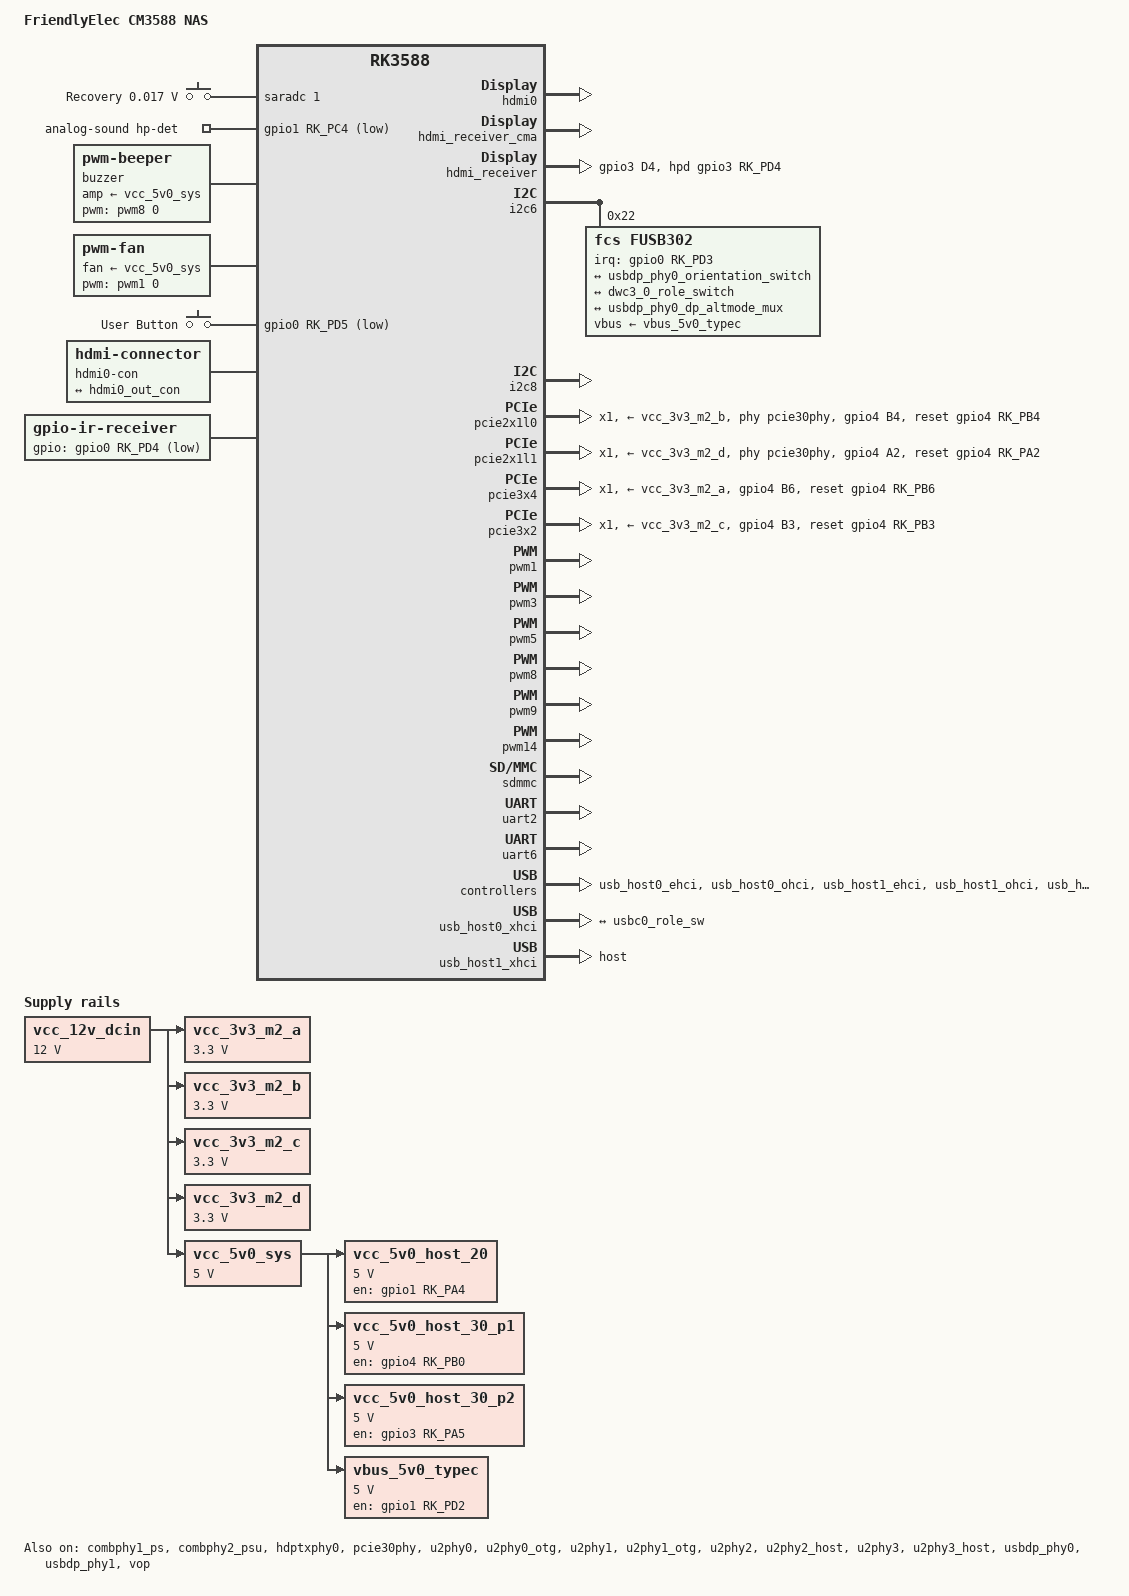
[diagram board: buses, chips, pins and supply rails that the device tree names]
// SPDX-License-Identifier: (GPL-2.0+ OR MIT)
/*
 * Copyright (c) 2021 Rockchip Electronics Co., Ltd.
 * Copyright (c) 2023 Thomas McKahan
 * Copyright (c) 2024 Sebastian Kropatsch
 *
 */

/dts-v1/;

#include <dt-bindings/gpio/gpio.h>
#include <dt-bindings/input/input.h>
#include <dt-bindings/pinctrl/rockchip.h>
#include <dt-bindings/soc/rockchip,vop2.h>
#include <dt-bindings/usb/pd.h>
#include "rk3588-friendlyelec-cm3588.dtsi"

/ {
	model = "FriendlyElec CM3588 NAS";
	compatible = "friendlyarm,cm3588-nas", "friendlyarm,cm3588", "rockchip,rk3588";

	adc_key_recovery: adc-key-recovery {
		compatible = "adc-keys";
		io-channels = <&saradc 1>;
		io-channel-names = "buttons";
		keyup-threshold-microvolt = <1800000>;
		poll-interval = <100>;

		button-recovery {
			label = "Recovery";
			linux,code = <KEY_VENDOR>;
			press-threshold-microvolt = <17000>;
		};
	};

	analog-sound {
		compatible = "simple-audio-card";
		pinctrl-names = "default";
		pinctrl-0 = <&headphone_detect>;

		simple-audio-card,format = "i2s";
		simple-audio-card,hp-det-gpios = <&gpio1 RK_PC4 GPIO_ACTIVE_LOW>;
		simple-audio-card,mclk-fs = <256>;
		simple-audio-card,name = "realtek,rt5616-codec";

		simple-audio-card,routing =
			"Headphones", "HPOL",
			"Headphones", "HPOR",
			"MIC1", "Microphone Jack",
			"Microphone Jack", "micbias1";
		simple-audio-card,widgets =
			"Headphone", "Headphones",
			"Microphone", "Microphone Jack";

		simple-audio-card,cpu {
			sound-dai = <&i2s0_8ch>;
		};

		simple-audio-card,codec {
			sound-dai = <&rt5616>;
		};
	};

	buzzer: pwm-beeper {
		compatible = "pwm-beeper";
		amp-supply = <&vcc_5v0_sys>;
		beeper-hz = <500>;
		pwms = <&pwm8 0 500000 0>;
	};

	fan: pwm-fan {
		compatible = "pwm-fan";
		#cooling-cells = <2>;
		cooling-levels = <0 50 80 120 160 220>;
		fan-supply = <&vcc_5v0_sys>;
		pwms = <&pwm1 0 50000 0>;
	};

	gpio_keys: gpio-keys {
		compatible = "gpio-keys";
		pinctrl-names = "default";
		pinctrl-0 = <&key1_pin>;

		button-user {
			debounce-interval = <50>;
			gpios = <&gpio0 RK_PD5 GPIO_ACTIVE_LOW>;
			label = "User Button";
			linux,code = <BTN_1>;
			wakeup-source;
		};
	};

	hdmi0-con {
		compatible = "hdmi-connector";
		type = "a";

		port {
			hdmi0_con_in: endpoint {
				remote-endpoint = <&hdmi0_out_con>;
			};
		};
	};

	ir-receiver {
		compatible = "gpio-ir-receiver";
		gpios = <&gpio0 RK_PD4 GPIO_ACTIVE_LOW>;
	};

	vcc_12v_dcin: regulator-vcc-12v-dcin {
		compatible = "regulator-fixed";
		regulator-name = "vcc_12v_dcin";
		regulator-always-on;
		regulator-boot-on;
		regulator-min-microvolt = <12000000>;
		regulator-max-microvolt = <12000000>;
	};

	vcc_3v3_m2_a: regulator-vcc-3v3-m2-a {
		compatible = "regulator-fixed";
		regulator-name = "vcc_3v3_m2_a";
		regulator-always-on;
		regulator-boot-on;
		regulator-min-microvolt = <3300000>;
		regulator-max-microvolt = <3300000>;
		vin-supply = <&vcc_12v_dcin>;
	};

	vcc_3v3_m2_b: regulator-vcc-3v3-m2-b {
		compatible = "regulator-fixed";
		regulator-name = "vcc_3v3_m2_b";
		regulator-always-on;
		regulator-boot-on;
		regulator-min-microvolt = <3300000>;
		regulator-max-microvolt = <3300000>;
		vin-supply = <&vcc_12v_dcin>;
	};

	vcc_3v3_m2_c: regulator-vcc-3v3-m2-c {
		compatible = "regulator-fixed";
		regulator-name = "vcc_3v3_m2_c";
		regulator-always-on;
		regulator-boot-on;
		regulator-min-microvolt = <3300000>;
		regulator-max-microvolt = <3300000>;
		vin-supply = <&vcc_12v_dcin>;
	};

	vcc_3v3_m2_d: regulator-vcc-3v3-m2-d {
		compatible = "regulator-fixed";
		regulator-name = "vcc_3v3_m2_d";
		regulator-always-on;
		regulator-boot-on;
		regulator-min-microvolt = <3300000>;
		regulator-max-microvolt = <3300000>;
		vin-supply = <&vcc_12v_dcin>;
	};

	/* vcc_5v0_sys powers the peripherals */
	vcc_5v0_sys: regulator-vcc-5v0-sys {
		compatible = "regulator-fixed";
		regulator-name = "vcc_5v0_sys";
		regulator-always-on;
		regulator-boot-on;
		regulator-min-microvolt = <5000000>;
		regulator-max-microvolt = <5000000>;
		vin-supply = <&vcc_12v_dcin>;
	};

	/* SY6280AAC power switch (U14 in schematics) */
	vcc_5v0_host_20: regulator-vcc-5v0-host-20 {
		compatible = "regulator-fixed";
		enable-active-high;
		gpios = <&gpio1 RK_PA4 GPIO_ACTIVE_HIGH>;
		pinctrl-names = "default";
		pinctrl-0 = <&vcc_5v0_host20_en>;
		regulator-name = "vcc_5v0_host_20";
		regulator-min-microvolt = <5000000>;
		regulator-max-microvolt = <5000000>;
		vin-supply = <&vcc_5v0_sys>;
	};

	/* SY6280AAC power switch (U8 in schematics) */
	vcc_5v0_host_30_p1: regulator-vcc-5v0-host-30-p1 {
		compatible = "regulator-fixed";
		enable-active-high;
		gpios = <&gpio4 RK_PB0 GPIO_ACTIVE_HIGH>;
		pinctrl-names = "default";
		pinctrl-0 = <&vcc_5v0_host30p1_en>;
		regulator-name = "vcc_5v0_host_30_p1";
		regulator-min-microvolt = <5000000>;
		regulator-max-microvolt = <5000000>;
		vin-supply = <&vcc_5v0_sys>;
	};

	/* SY6280AAC power switch (U9 in schematics) */
	vcc_5v0_host_30_p2: regulator-vcc-5v0-host-30-p2 {
		compatible = "regulator-fixed";
		enable-active-high;
		gpios = <&gpio3 RK_PA5 GPIO_ACTIVE_HIGH>;
		pinctrl-names = "default";
		pinctrl-0 = <&vcc_5v0_host30p2_en>;
		regulator-name = "vcc_5v0_host_30_p2";
		regulator-min-microvolt = <5000000>;
		regulator-max-microvolt = <5000000>;
		vin-supply = <&vcc_5v0_sys>;
	};

	/* SY6280AAC power switch (U10 in schematics) */
	vbus_5v0_typec: regulator-vbus-5v0-typec {
		compatible = "regulator-fixed";
		enable-active-high;
		gpios = <&gpio1 RK_PD2 GPIO_ACTIVE_HIGH>;
		pinctrl-names = "default";
		pinctrl-0 = <&typec_5v_pwr_en>;
		regulator-name = "vbus_5v0_typec";
		regulator-min-microvolt = <5000000>;
		regulator-max-microvolt = <5000000>;
		vin-supply = <&vcc_5v0_sys>;
	};
};

/* vcc_4v0_sys powers the RK806 and RK860's */
&vcc_4v0_sys {
	vin-supply = <&vcc_12v_dcin>;
};

/* Combo PHY 1 is configured to act as as PCIe 2.0 PHY */
/* Used by PCIe controller 2 (pcie2x1l0) */
&combphy1_ps {
	status = "okay";
};

/* Combo PHY 2 is configured to act as USB3 PHY */
/* Used by USB 3.0 OTG 2 controller (USB 3.0 Type-A port 2) */
/* CM3588 USB Controller Config Table: USB30 HOST2 */
&combphy2_psu {
	status = "okay";
};

/* GPIO names are in the format "Human-readable-name [SIGNAL_LABEL]" */
/* Signal labels match the official CM3588 NAS SDK schematic revision 2309 */
&gpio0 {
	gpio-line-names =
		/* GPIO0 A0-A7 */
		"", "", "", "",
		"MicroSD detect [SDMMC_DET_L]", "", "", "",
		/* GPIO0 B0-B7 */
		"", "", "", "",
		"", "", "", "",
		/* GPIO0 C0-C7 */
		"", "", "", "",
		"Pin 10 [UART0_RX_M0]", "Pin 08 [UART0_TX_M0/PWM4_M0]", "Pin 32 [PWM5_M1]", "",
		/* GPIO0 D0-D7 */
		"", "", "", "USB3 Type-C [CC_INT_L]",
		"IR receiver [PWM3_IR_M0]", "User Button", "", "";
};

&gpio1 {
	gpio-line-names =
		/* GPIO1 A0-A7 */
		"Pin 27 [UART6_RX_M1]", "Pin 28 [UART6_TX_M1]", "", "",
		"USB2 Type-A [USB2_PWREN]", "", "", "Pin 15",
		/* GPIO1 B0-B7 */
		"Pin 26", "Pin 21 [SPI0_MISO_M2]", "Pin 19 [SPI0_MOSI_M2/UART4_RX_M2]", "Pin 23 [SPI0_CLK_M2/UART4_TX_M2]",
		"Pin 24 [SPI0_CS0_M2/UART7_RX_M2]", "Pin 22 [SPI0_CS1_M0/UART7_TX_M2]", "", "CSI-Pin 14 [MIPI_CAM2_CLKOUT]",
		/* GPIO1 C0-C7 */
		"", "", "", "",
		"Headphone detect [HP_DET_L]", "", "", "",
		/* GPIO1 D0-D7 */
		"", "", "USB3 Type-C [TYPEC5V_PWREN_H]", "5V Fan [PWM1_M1]",
		"", "HDMI-in detect [HDMIIRX_DET_L]", "Pin 05 [I2C8_SCL_M2]", "Pin 03 [I2C8_SDA_M2]";
};

&gpio2 {
	gpio-line-names =
		/* GPIO2 A0-A7 */
		"", "", "", "",
		"", "", "SPI NOR Flash [FSPI_D0_M1]", "SPI NOR Flash [FSPI_D1_M1]",
		/* GPIO2 B0-B7 */
		"SPI NOR Flash [FSPI_D2_M1]", "SPI NOR Flash [FSPI_D3_M1]", "", "SPI NOR Flash [FSPI_CLK_M1]",
		"SPI NOR Flash [FSPI_CSN0_M1]", "", "", "",
		/* GPIO2 C0-C7 */
		"", "CSI-Pin 11 [MIPI_CAM2_RESET_L]", "CSI-Pin 12 [MIPI_CAM2_PDN_L]", "",
		"", "", "", "",
		/* GPIO2 D0-D7 */
		"", "", "", "",
		"", "", "", "";
};

&gpio3 {
	gpio-line-names =
		/* GPIO3 A0-A7 */
		"Pin 35 [SPI4_MISO_M1/PWM10_M0]", "Pin 38 [SPI4_MOSI_M1]", "Pin 40 [SPI4_CLK_M1/UART8_TX_M1]", "Pin 36 [SPI4_CS0_M1/UART8_RX_M1]",
		"Pin 37 [SPI4_CS1_M1]", "USB3-A #2 [USB3_2_PWREN]", "DSI-Pin 12 [LCD_RST]", "Buzzer [PWM8_M0]",
		/* GPIO3 B0-B7 */
		"Pin 33 [PWM9_M0]", "DSI-Pin 10 [PWM2_M1/LCD_BL]", "Pin 07", "Pin 16",
		"Pin 18", "Pin 29 [UART3_TX_M1/PWM12_M0]", "Pin 31 [UART3_RX_M1/PWM13_M0]", "Pin 12",
		/* GPIO3 C0-C7 */
		"DSI-Pin 08 [TP_INT_L]", "DSI-Pin 14 [TP_RST_L]", "Pin 11 [PWM14_M0]", "Pin 13 [PWM15_IR_M0]",
		"", "", "", "DSI-Pin 06 [I2C5_SCL_M0_TP]",
		/* GPIO3 D0-D7 */
		"DSI-Pin 05 [I2C5_SDA_M0_TP]", "", "", "",
		"", "", "", "";
};

&gpio4 {
	gpio-line-names =
		/* GPIO4 A0-A7 */
		"", "", "M.2 M-Key Slot4 [M2_D_PERST_L]", "",
		"", "", "", "",
		/* GPIO4 B0-B7 */
		"USB3-A #1 [USB3_TYPEC1_PWREN]", "", "", "M.2 M-Key Slot3 [M2_C_PERST_L]",
		"M.2 M-Key Slot2 [M2_B_PERST_L]", "M.2 M-Key Slot1 [M2_A_CLKREQ_L]", "M.2 M-Key Slot1 [M2_A_PERST_L]", "",
		/* GPIO4 C0-C7 */
		"", "", "", "",
		"", "", "", "",
		/* GPIO4 D0-D7 */
		"", "", "", "",
		"", "", "", "";
};

&hdmi0 {
	status = "okay";
};

&hdmi0_in {
	hdmi0_in_vp0: endpoint {
		remote-endpoint = <&vp0_out_hdmi0>;
	};
};

&hdmi0_out {
	hdmi0_out_con: endpoint {
		remote-endpoint = <&hdmi0_con_in>;
	};
};

&hdmi_receiver_cma {
	status = "okay";
};

&hdmi_receiver {
	hpd-gpios = <&gpio3 RK_PD4 GPIO_ACTIVE_HIGH>;
	pinctrl-0 = <&hdmim1_rx_cec &hdmim1_rx_hpdin &hdmim1_rx_scl &hdmim1_rx_sda &hdmirx_hpd>;
	pinctrl-names = "default";
	status = "okay";
};

&hdptxphy0 {
	status = "okay";
};

/* Connected to MIPI-DSI0 */
&i2c5 {
	pinctrl-names = "default";
	pinctrl-0 = <&i2c5m0_xfer>;
	status = "disabled";
};

&i2c6 {
	fusb302: typec-portc@22 {
		compatible = "fcs,fusb302";
		reg = <0x22>;
		interrupt-parent = <&gpio0>;
		interrupts = <RK_PD3 IRQ_TYPE_LEVEL_LOW>;
		pinctrl-names = "default";
		pinctrl-0 = <&usbc0_int>;
		vbus-supply = <&vbus_5v0_typec>;

		usb_con: connector {
			compatible = "usb-c-connector";
			data-role = "dual";
			label = "USB-C";
			power-role = "source";
			source-pdos = <PDO_FIXED(5000, 2000, PDO_FIXED_USB_COMM)>;
			try-power-role = "source";
			vbus-supply = <&vbus_5v0_typec>;

			ports {
				#address-cells = <1>;
				#size-cells = <0>;

				port@0 {
					reg = <0>;

					usbc0_orien_sw: endpoint {
						remote-endpoint = <&usbdp_phy0_orientation_switch>;
					};
				};

				port@1 {
					reg = <1>;

					usbc0_role_sw: endpoint {
						remote-endpoint = <&dwc3_0_role_switch>;
					};
				};

				port@2 {
					reg = <2>;

					dp_altmode_mux: endpoint {
						remote-endpoint = <&usbdp_phy0_dp_altmode_mux>;
					};
				};
			};
		};
	};
};

/* Connected to MIPI-CSI1 */
/* &i2c7 */

/* GPIO Connector, connected to 40-pin GPIO header */
&i2c8 {
	pinctrl-names = "default";
	pinctrl-0 = <&i2c8m2_xfer>;
	status = "okay";
};

&pcie2x1l0 {
	/* 2. M.2 socket, CON14: pcie30phy port0 lane1, @fe170000 */
	max-link-speed = <3>;
	num-lanes = <1>;
	phys = <&pcie30phy>;
	pinctrl-names = "default";
	pinctrl-0 = <&pcie2_0_rst>;
	reset-gpios = <&gpio4 RK_PB4 GPIO_ACTIVE_HIGH>;
	vpcie3v3-supply = <&vcc_3v3_m2_b>;
	status = "okay";
};

&pcie2x1l1 {
	/* 4. M.2 socket, CON16: pcie30phy port1 lane1, @fe180000 */
	max-link-speed = <3>;
	num-lanes = <1>;
	phys = <&pcie30phy>;
	pinctrl-names = "default";
	pinctrl-0 = <&pcie2_1_rst>;
	reset-gpios = <&gpio4 RK_PA2 GPIO_ACTIVE_HIGH>;
	vpcie3v3-supply = <&vcc_3v3_m2_d>;
	status = "okay";
};

&pcie30phy {
	/*
	* Data lane mapping <1 3 2 4> = x1x1 x1x1 (bifurcation of both ports)
	* port 0 lane 0 - always mapped to controller 0 (4L)
	* port 0 lane 1 - map to controller 2 (1L0)
	* port 1 lane 0 - map to controller 1 (2L)
	* port 1 lane 1 - map to controller 3 (1L1)
	*/
	data-lanes = <1 3 2 4>;
	status = "okay";
};

&pcie3x4 {
	/* 1. M.2 socket, CON13: pcie30phy port0 lane0, @fe150000 */
	max-link-speed = <3>;
	num-lanes = <1>;
	pinctrl-names = "default";
	pinctrl-0 = <&pcie3x4_rst>;
	reset-gpios = <&gpio4 RK_PB6 GPIO_ACTIVE_HIGH>;
	vpcie3v3-supply = <&vcc_3v3_m2_a>;
	status = "okay";
};

&pcie3x2 {
	/* 3. M.2 socket, CON15: pcie30phy port1 lane0, @fe160000 */
	max-link-speed = <3>;
	num-lanes = <1>;
	pinctrl-names = "default";
	pinctrl-0 = <&pcie3x2_rst>;
	reset-gpios = <&gpio4 RK_PB3 GPIO_ACTIVE_HIGH>;
	vpcie3v3-supply = <&vcc_3v3_m2_c>;
	status = "okay";
};

&pinctrl {
	audio {
		headphone_detect: headphone-detect {
			rockchip,pins = <1 RK_PC4 RK_FUNC_GPIO &pcfg_pull_none>;
		};
	};

	gpio-key {
		key1_pin: key1-pin {
			rockchip,pins = <0 RK_PD5 RK_FUNC_GPIO &pcfg_pull_up>;
		};
	};

	hdmirx {
		hdmirx_hpd: hdmirx-5v-detection {
			rockchip,pins = <3 RK_PD4 RK_FUNC_GPIO &pcfg_pull_up>;
		};
	};

	pcie {
		pcie2_0_rst: pcie2-0-rst {
			rockchip,pins = <4 RK_PB4 RK_FUNC_GPIO &pcfg_pull_none>;
		};

		pcie2_1_rst: pcie2-1-rst {
			rockchip,pins = <4 RK_PA2 RK_FUNC_GPIO &pcfg_pull_none>;
		};

		pcie3x2_rst: pcie3x2-rst {
			rockchip,pins = <4 RK_PB3 RK_FUNC_GPIO &pcfg_pull_none>;
		};

		pcie3x4_rst: pcie3x4-rst {
			rockchip,pins = <4 RK_PB6 RK_FUNC_GPIO &pcfg_pull_none>;
		};
	};

	usb {
		vcc_5v0_host20_en: vcc-5v0-host20-en {
			rockchip,pins = <1 RK_PA4 RK_FUNC_GPIO &pcfg_pull_none>;
		};

		vcc_5v0_host30p1_en: vcc-5v0-host30p1-en {
			rockchip,pins = <4 RK_PB0 RK_FUNC_GPIO &pcfg_pull_none>;
		};

		vcc_5v0_host30p2_en: vcc-5v0-host30p2-en {
			rockchip,pins = <3 RK_PA5 RK_FUNC_GPIO &pcfg_pull_none>;
		};
	};

	usb-typec {
		usbc0_int: usbc0-int {
			rockchip,pins = <0 RK_PD3 RK_FUNC_GPIO &pcfg_pull_up>;
		};

		typec_5v_pwr_en: typec-5v-pwr-en {
			rockchip,pins = <1 RK_PD2 RK_FUNC_GPIO &pcfg_pull_none>;
		};
	};
};

/* Connected to 5V Fan */
&pwm1 {
	pinctrl-names = "default";
	pinctrl-0 = <&pwm1m1_pins>;
	status = "okay";
};

/* Connected to MIPI-DSI0 */
&pwm2 {
	pinctrl-names = "default";
	pinctrl-0 = <&pwm2m1_pins>;
};

/* Connected to IR Receiver */
&pwm3 {
	pinctrl-names = "default";
	pinctrl-0 = <&pwm3m0_pins>;
	status = "okay";
};

/* GPIO Connector, connected to 40-pin GPIO header */
/* Shared with UART0 */
&pwm4 {
	pinctrl-names = "default";
	pinctrl-0 = <&pwm4m1_pins>;
	status = "disabled";
};

/* GPIO Connector, connected to 40-pin GPIO header */
&pwm5 {
	pinctrl-names = "default";
	pinctrl-0 = <&pwm5m1_pins>;
	status = "okay";
};

/* Connected to Buzzer */
&pwm8 {
	pinctrl-names = "default";
	pinctrl-0 = <&pwm8m0_pins>;
	status = "okay";
};

/* GPIO Connector, connected to 40-pin GPIO header */
&pwm9 {
	pinctrl-names = "default";
	pinctrl-0 = <&pwm9m0_pins>;
	status = "okay";
};

/* GPIO Connector, connected to 40-pin GPIO header */
/* Shared with SPI4 */
&pwm10 {
	pinctrl-names = "default";
	pinctrl-0 = <&pwm10m0_pins>;
	status = "disabled";
};

/* GPIO Connector, connected to 40-pin GPIO header */
/* Shared with UART3 */
&pwm12 {
	pinctrl-names = "default";
	pinctrl-0 = <&pwm12m0_pins>;
	status = "disabled";
};

/* GPIO Connector, connected to 40-pin GPIO header */
/* Shared with UART3 */
&pwm13 {
	pinctrl-names = "default";
	pinctrl-0 = <&pwm13m0_pins>;
	status = "disabled";
};

/* GPIO Connector, connected to 40-pin GPIO header */
&pwm14 {
	pinctrl-names = "default";
	pinctrl-0 = <&pwm14m0_pins>;
	status = "okay";
};

/* GPIO Connector, connected to 40-pin GPIO header */
/* Optimized for infrared applications */
&pwm15 {
	pinctrl-names = "default";
	pinctrl-0 = <&pwm15m0_pins>;
	status = "disabled";
};

/* microSD card */
&sdmmc {
	status = "okay";
};

/* GPIO Connector, connected to 40-pin GPIO header */
/* Shared with UART4, UART7 and PWM10 */
&spi0 {
	num-cs = <1>;
	pinctrl-names = "default";
	pinctrl-0 = <&spi0m2_cs0 &spi0m2_pins>;
	status = "disabled";
};

/* GPIO Connector, connected to 40-pin GPIO header */
/* Shared with UART8 */
&spi4 {
	num-cs = <1>;
	pinctrl-names = "default";
	pinctrl-0 = <&spi4m1_cs0 &spi4m1_pins>;
	status = "disabled";
};

/* GPIO Connector, connected to 40-pin GPIO header */
/* Shared with PWM4 */
&uart0 {
	pinctrl-names = "default";
	pinctrl-0 = <&uart0m0_xfer>;
	status = "disabled";
};

/* Debug UART */
&uart2 {
	status = "okay";
};

/* GPIO Connector, connected to 40-pin GPIO header */
/* Shared with PWM12 and PWM13 */
&uart3 {
	pinctrl-names = "default";
	pinctrl-0 = <&uart3m1_xfer>;
	status = "disabled";
};

/* GPIO Connector, connected to 40-pin GPIO header */
/* Shared with SPI0 */
&uart4 {
	pinctrl-names = "default";
	pinctrl-0 = <&uart4m2_xfer>;
	status = "disabled";
};

/* GPIO Connector, connected to 40-pin GPIO header */
&uart6 {
	pinctrl-names = "default";
	pinctrl-0 = <&uart6m1_xfer>;
	status = "okay";
};

/* GPIO Connector, connected to 40-pin GPIO header */
/* Shared with SPI0 */
&uart7 {
	pinctrl-names = "default";
	pinctrl-0 = <&uart7m2_xfer>;
	status = "disabled";
};

/* GPIO Connector, connected to 40-pin GPIO header */
/* Shared with SPI4 */
&uart8 {
	pinctrl-names = "default";
	pinctrl-0 = <&uart8m1_xfer>;
	status = "disabled";
};

/* USB2 PHY for USB Type-C port */
/* CM3588 USB Controller Config Table: USB20 OTG0 */
&u2phy0 {
	status = "okay";
};

&u2phy0_otg {
	phy-supply = <&vbus_5v0_typec>;
	status = "okay";
};

/* USB2 PHY for USB 3.0 Type-A port 1 */
/* CM3588 USB Controller Config Table: USB20 OTG1 */
&u2phy1 {
	status = "okay";
};

&u2phy1_otg {
	phy-supply = <&vcc_5v0_host_30_p1>;
	status = "okay";
};

/* USB2 PHY for USB 2.0 Type-A */
/* CM3588 USB Controller Config Table: USB20 HOST0 */
&u2phy2 {
	status = "okay";
};

&u2phy2_host {
	phy-supply = <&vcc_5v0_host_20>;
	status = "okay";
};

/* USB2 PHY for USB 3.0 Type-A port 2 */
/* CM3588 USB Controller Config Table: USB20 HOST1 */
&u2phy3 {
	status = "okay";
};

&u2phy3_host {
	phy-supply = <&vcc_5v0_host_30_p2>;
	status = "okay";
};

/* USB 2.0 Type-A */
/* PHY: <&u2phy2_host> */
&usb_host0_ehci {
	status = "okay";
};

/* USB 2.0 Type-A */
/* PHY: <&u2phy2_host> */
&usb_host0_ohci {
	status = "okay";
};

/* USB Type-C */
/* PHYs: <&u2phy0_otg>, <&usbdp_phy0 PHY_TYPE_USB3> */
&usb_host0_xhci {
	usb-role-switch;
	status = "okay";

	port {
		dwc3_0_role_switch: endpoint {
			remote-endpoint = <&usbc0_role_sw>;
		};
	};
};

/* Lower USB 3.0 Type-A (port 2) */
/* PHY: <&u2phy3_host> */
&usb_host1_ehci {
	status = "okay";
};

/* Lower USB 3.0 Type-A (port 2) */
/* PHY: <&u2phy3_host> */
&usb_host1_ohci {
	status = "okay";
};

/* Upper USB 3.0 Type-A (port 1) */
/* PHYs: <&u2phy1_otg>, <&usbdp_phy1 PHY_TYPE_USB3> */
&usb_host1_xhci {
	dr_mode = "host";
	status = "okay";
};

/* Lower USB 3.0 Type-A (port 2) */
/* PHYs: <&combphy2_psu PHY_TYPE_USB3> */
&usb_host2_xhci {
	status = "okay";
};

/* USB3 PHY for USB Type-C port */
/* CM3588 USB Controller Config Table: USB30 OTG0 */
&usbdp_phy0 {
	mode-switch;
	orientation-switch;
	sbu1-dc-gpios = <&gpio4 RK_PA6 GPIO_ACTIVE_HIGH>;
	sbu2-dc-gpios = <&gpio4 RK_PA7 GPIO_ACTIVE_HIGH>;
	status = "okay";

	port {
		#address-cells = <1>;
		#size-cells = <0>;

		usbdp_phy0_orientation_switch: endpoint@0 {
			reg = <0>;
			remote-endpoint = <&usbc0_orien_sw>;
		};

		usbdp_phy0_dp_altmode_mux: endpoint@1 {
			reg = <1>;
			remote-endpoint = <&dp_altmode_mux>;
		};
	};
};

/* USB3 PHY for USB 3.0 Type-A port 1 */
/* CM3588 USB Controller Config Table: USB30 OTG1 */
&usbdp_phy1 {
	status = "okay";
};

&vop {
	status = "okay";
};

&vop_mmu {
	status = "okay";
};

&vp0 {
	vp0_out_hdmi0: endpoint@ROCKCHIP_VOP2_EP_HDMI0 {
		reg = <ROCKCHIP_VOP2_EP_HDMI0>;
		remote-endpoint = <&hdmi0_in_vp0>;
	};
};
